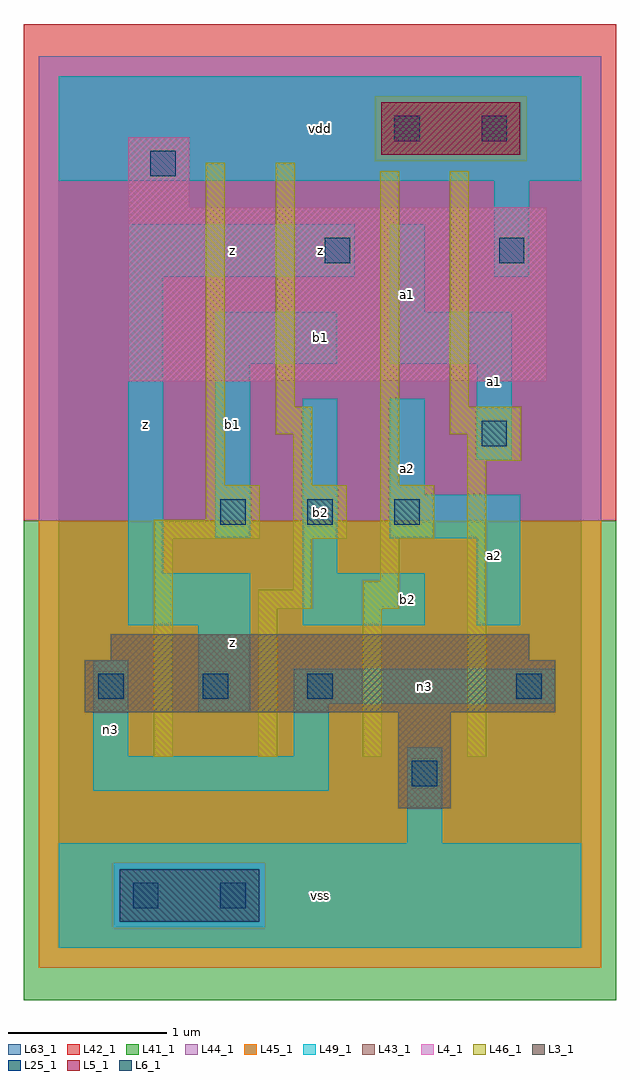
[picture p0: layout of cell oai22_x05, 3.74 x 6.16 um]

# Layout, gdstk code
import gdstk
lib = gdstk.Library(unit=1e-6, precision=1e-09)
def R(c, l, rs):  # rectangles x0, y0, x1, y1
    for r in rs: c.add(gdstk.rectangle(r[:2], r[2:], *l))
def A(c, l, x, y, w, h, nx, ny, dx, dy):  # array of equal rectangles
    R(c, l, [(x+i*dx, y+j*dy, x+i*dx+w, y+j*dy+h) for i in range(nx) for j in range(ny)])
L3_1 = (3, 1)
L4_1 = (4, 1)
L5_1 = (5, 1)
L6_1 = (6, 1)
L25_1 = (25, 1)
L41_1 = (41, 1)
L42_1 = (42, 1)
L43_1 = (43, 1)
L44_1 = (44, 1)
L45_1 = (45, 1)
L46_1 = (46, 1)
L49_1 = (49, 1)
L63_1 = (63, 1)

oai22_x05 = lib.new_cell('oai22_x05')
R(oai22_x05, L3_1, [(2.145,0.88,2.475,1.485), (0.165,1.485,3.135,1.815), (0.33,1.815,2.97,1.98)])
R(oai22_x05, L4_1, [(0.44,3.575,3.08,4.675), (0.44,4.675,0.825,5.115)])
R(oai22_x05, L5_1, [(2.035,5.005,2.915,5.335)])
R(oai22_x05, L6_1, [(0.385,0.165,1.265,0.495)])
A(oai22_x05, L25_1, 0.25, 1.57, 0.16, 0.16, 3, 1, 0.66, 0)
A(oai22_x05, L25_1, 1.02, 2.67, 0.16, 0.16, 3, 1, 0.55, 0)
R(oai22_x05, L25_1, [(0.47,0.25,0.63,0.41), (1.02,0.25,1.18,0.41), (2.23,1.02,2.39,1.18), (2.89,1.57,3.05,1.73), (2.67,3.165,2.83,3.325), (1.68,4.32,1.84,4.48), (2.78,4.32,2.94,4.48), (0.58,4.87,0.74,5.03), (2.12,5.09,2.28,5.25), (2.67,5.09,2.83,5.25)])
R(oai22_x05, L41_1, [(-0.22,-0.33,3.52,2.695)])
R(oai22_x05, L42_1, [(-0.22,2.695,3.52,5.83)])
R(oai22_x05, L43_1, [(0.385,0.165,1.265,0.495), (2.145,0.88,2.475,1.485), (0.165,1.485,3.135,1.815), (0.33,1.815,2.97,1.98), (0.44,3.575,3.08,4.675), (0.44,4.675,0.825,5.115), (2.035,5.005,2.915,5.335)])
R(oai22_x05, L44_1, [(0.345,0.125,1.305,0.535), (-0.125,2.695,3.425,4.965), (-0.125,4.965,1.995,5.375), (2.955,4.965,3.425,5.375), (-0.125,5.375,3.425,5.625)])
R(oai22_x05, L45_1, [(-0.125,-0.125,3.425,0.125), (-0.125,0.125,0.345,0.535), (1.305,0.125,3.425,0.535), (-0.125,0.535,3.425,2.695), (1.995,4.965,2.955,5.375)])
R(oai22_x05, L46_1, [(0.6,1.205,0.72,2.58), (1.26,1.205,1.38,2.14), (1.92,1.205,2.04,2.14), (2.58,1.205,2.7,3.075), (1.26,2.14,1.6,2.26), (1.92,2.14,2.15,2.315), (1.48,2.26,1.6,2.58), (2.03,2.315,2.15,2.58), (0.6,2.58,1.27,2.7), (1.48,2.58,1.82,2.92), (2.03,2.58,2.37,2.92), (0.93,2.7,1.27,2.92), (0.93,2.92,1.05,4.955), (1.48,2.92,1.6,3.24), (2.03,2.92,2.15,4.9), (2.58,3.075,2.92,3.24), (1.37,3.24,1.6,3.415), (2.47,3.24,2.92,3.415), (1.37,3.415,1.49,4.955), (2.47,3.415,2.59,4.9)])
R(oai22_x05, L49_1, [(0,0,3.3,0.66), (2.2,0.66,2.42,1.265), (0.22,0.99,1.705,1.21), (0.22,1.21,0.44,1.815), (1.485,1.21,1.705,1.54), (0.88,1.485,1.21,2.035), (1.485,1.54,3.135,1.76), (0.44,2.035,1.21,2.365), (1.54,2.035,2.31,2.365), (2.64,2.035,2.915,2.585), (0.44,2.365,0.66,4.235), (1.54,2.365,1.76,3.465), (0.99,2.585,1.21,3.685), (2.09,2.585,2.915,2.86), (2.09,2.86,2.31,3.465), (2.64,3.08,2.86,3.685), (0.99,3.685,1.76,4.015), (2.09,3.685,2.86,4.015), (2.09,4.015,2.31,4.565), (0.44,4.235,1.87,4.565), (2.75,4.235,2.97,4.84), (0,4.84,3.3,5.5)])
R(oai22_x05, L63_1, [(0,0,3.3,5.5)])
oai22_x05.add(gdstk.Label('n3', (0.33,1.375), layer=49, texttype=1))
oai22_x05.add(gdstk.Label('z', (1.1,1.925), layer=49, texttype=1))
oai22_x05.add(gdstk.Label('z', (1.1,1.925), layer=49, texttype=1))
oai22_x05.add(gdstk.Label('b1', (1.1,3.3), layer=49, texttype=1))
oai22_x05.add(gdstk.Label('b1', (1.1,3.3), layer=49, texttype=1))
oai22_x05.add(gdstk.Label('z', (0.55,3.3), layer=49, texttype=1))
oai22_x05.add(gdstk.Label('z', (0.55,3.3), layer=49, texttype=1))
oai22_x05.add(gdstk.Label('z', (1.1,4.4), layer=49, texttype=1))
oai22_x05.add(gdstk.Label('z', (1.1,4.4), layer=49, texttype=1))
oai22_x05.add(gdstk.Label('vss', (1.65,0.33), layer=49, texttype=1))
oai22_x05.add(gdstk.Label('vss', (1.65,0.33), layer=49, texttype=1))
oai22_x05.add(gdstk.Label('b2', (1.65,2.75), layer=49, texttype=1))
oai22_x05.add(gdstk.Label('b2', (1.65,2.75), layer=49, texttype=1))
oai22_x05.add(gdstk.Label('b1', (1.65,3.85), layer=49, texttype=1))
oai22_x05.add(gdstk.Label('b1', (1.65,3.85), layer=49, texttype=1))
oai22_x05.add(gdstk.Label('z', (1.65,4.4), layer=49, texttype=1))
oai22_x05.add(gdstk.Label('z', (1.65,4.4), layer=49, texttype=1))
oai22_x05.add(gdstk.Label('vdd', (1.65,5.17), layer=49, texttype=1))
oai22_x05.add(gdstk.Label('vdd', (1.65,5.17), layer=49, texttype=1))
oai22_x05.add(gdstk.Label('b2', (2.2,2.2), layer=49, texttype=1))
oai22_x05.add(gdstk.Label('b2', (2.2,2.2), layer=49, texttype=1))
oai22_x05.add(gdstk.Label('a2', (2.2,3.025), layer=49, texttype=1))
oai22_x05.add(gdstk.Label('a2', (2.2,3.025), layer=49, texttype=1))
oai22_x05.add(gdstk.Label('a1', (2.2,4.125), layer=49, texttype=1))
oai22_x05.add(gdstk.Label('a1', (2.2,4.125), layer=49, texttype=1))
oai22_x05.add(gdstk.Label('n3', (2.31,1.65), layer=49, texttype=1))
oai22_x05.add(gdstk.Label('a2', (2.75,2.475), layer=49, texttype=1))
oai22_x05.add(gdstk.Label('a2', (2.75,2.475), layer=49, texttype=1))
oai22_x05.add(gdstk.Label('a1', (2.75,3.575), layer=49, texttype=1))
oai22_x05.add(gdstk.Label('a1', (2.75,3.575), layer=49, texttype=1))

lib.write_gds('oai22_x05.gds')
